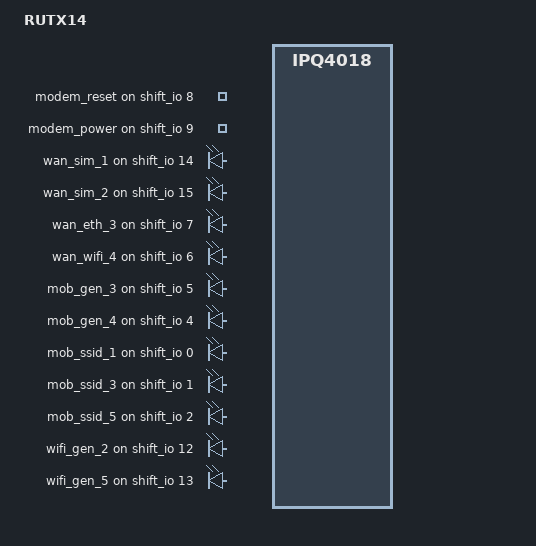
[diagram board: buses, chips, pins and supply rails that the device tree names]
#include "qcom-ipq4018-rutx-shiftreg.dtsi"

/ {
	model = "RUTX14";

	soc {
		gpio-export {
			compatible = "gpio-export";
			#size-cells = <0>;

			gpio_modem_reset {
				gpio-export,name = "modem_reset";
				gpio-export,output = <0>;
				gpios = <&shift_io 8 GPIO_ACTIVE_HIGH>;
			};

			gpio_modem_power {
				gpio-export,name = "modem_power";
				gpio-export,output = <0>;
				gpios = <&shift_io 9 GPIO_ACTIVE_HIGH>;
			};
		};

		leds {
			compatible = "gpio-leds";

			led_wan_sim1 {
				label = "wan_sim_1";
				gpios = <&shift_io 14 GPIO_ACTIVE_HIGH>;
			};

			led_wan_sim2 {
				label = "wan_sim_2";
				gpios = <&shift_io 15 GPIO_ACTIVE_HIGH>;
			};

			led_wan_eth {
				label = "wan_eth_3";
				gpios = <&shift_io 7 GPIO_ACTIVE_HIGH>;
			};

			led_wan_wifi {
				label = "wan_wifi_4";
				gpios = <&shift_io 6 GPIO_ACTIVE_HIGH>;
			};

			led_gen_3 {
				label = "mob_gen_3";
				gpios = <&shift_io 5 GPIO_ACTIVE_HIGH>;
			};

			led_gen_4 {
				label = "mob_gen_4";
				gpios = <&shift_io 4 GPIO_ACTIVE_HIGH>;
			};

			led_ssid_1 {
				label = "mob_ssid_1";
				gpios = <&shift_io 0 GPIO_ACTIVE_HIGH>;
				linux,default-trigger = "timer";
			};

			led_ssid_3 {
				label = "mob_ssid_3";
				gpios = <&shift_io 1 GPIO_ACTIVE_HIGH>;
				linux,default-trigger = "timer";
			};

			led_ssid_5 {
				label = "mob_ssid_5";
				gpios = <&shift_io 2 GPIO_ACTIVE_HIGH>;
				linux,default-trigger = "timer";
			};

			led_wifi_24 {
				label = "wifi_gen_2";
				gpios = <&shift_io 12 GPIO_ACTIVE_HIGH>;
			};

			led_wifi_50 {
				label = "wifi_gen_5";
				gpios = <&shift_io 13 GPIO_ACTIVE_HIGH>;
			};
		};
	};

	tlt_gpios { // Modify according to wiki page "DTS syntax with Libgpiod changes"
		gpiochip_info {
			hw_3 {
				hwver = <3>;
				gpiochip_count = <2>;

				gpiochip_0 = <100>; // Built-in
				gpiochip_1 = <16>;  // Shift Register
			};
		};

		ioman {
			GPIO_0 {
				compatible_versions = <3 99>;
				line_name = "GPIO_IN_1";
				active_low;
			};
			GPIO_110 {
				compatible_versions = <3 99>;
				line_name = "GPIO_OUT_1";
			};
		};

		misc {
			GPIO_108 {
				compatible_versions = <3 99>;
				line_name = "GPIO_MODEM_RESET_1";
			};
			GPIO_109 {
				compatible_versions = <3 99>;
				line_name = "GPIO_MODEM_POWER_1";
			};
		};
	};
};

&mnfinfo {
	sim_cfg {
		default = "1111000_1112000";
	};
};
